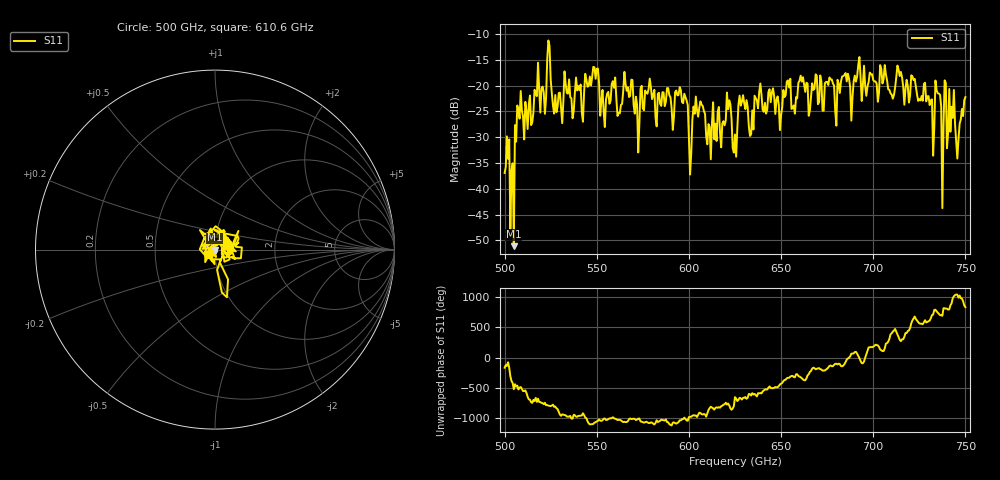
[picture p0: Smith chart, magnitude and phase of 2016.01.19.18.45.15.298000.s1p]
!Created with skrf (http://scikit-rf.org).
# GHz S RI R 50.0
!freq ReS11 ImS11
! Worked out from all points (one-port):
!   401 points, 500 GHz to 750 GHz, reference 50 ohm
!   lowest |S11| = -51.1 dB at 505 GHz (marker M1), VSWR 1.01, Z = 49.7 - j0.0746 ohm
!   |S11| at or under -10 dB: start of sweep to end of sweep
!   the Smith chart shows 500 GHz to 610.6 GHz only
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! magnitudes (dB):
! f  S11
! 500 GHz  -36.9
! 505 GHz  -51.1
! 508.1 GHz  -26.4
! 520.6 GHz  -20.2
! 523.8 GHz  -11.2
! 526.9 GHz  -25.4
! 531.2 GHz  -27.3
! 549.4 GHz  -18.7
! 553.1 GHz  -20.8
! 562.5 GHz  -25.4
! 593.8 GHz  -21.9
! 600.6 GHz  -37.2
! 603.1 GHz  -25.5
! 610.6 GHz  -27.5
! 621.9 GHz  -22.8
! 625 GHz  -29.5
! 628.1 GHz  -23.9
! 633.8 GHz  -29.5
! 637.5 GHz  -24.4
! 656.2 GHz  -24.4
! 687.5 GHz  -20.4
! 718.8 GHz  -20.1
! 731.9 GHz  -22.7
! 735 GHz  -21.5
! 736.9 GHz  -24.1
! 742.5 GHz  -24.1
! 745.6 GHz  -34.1
! 750 GHz  -22.2
